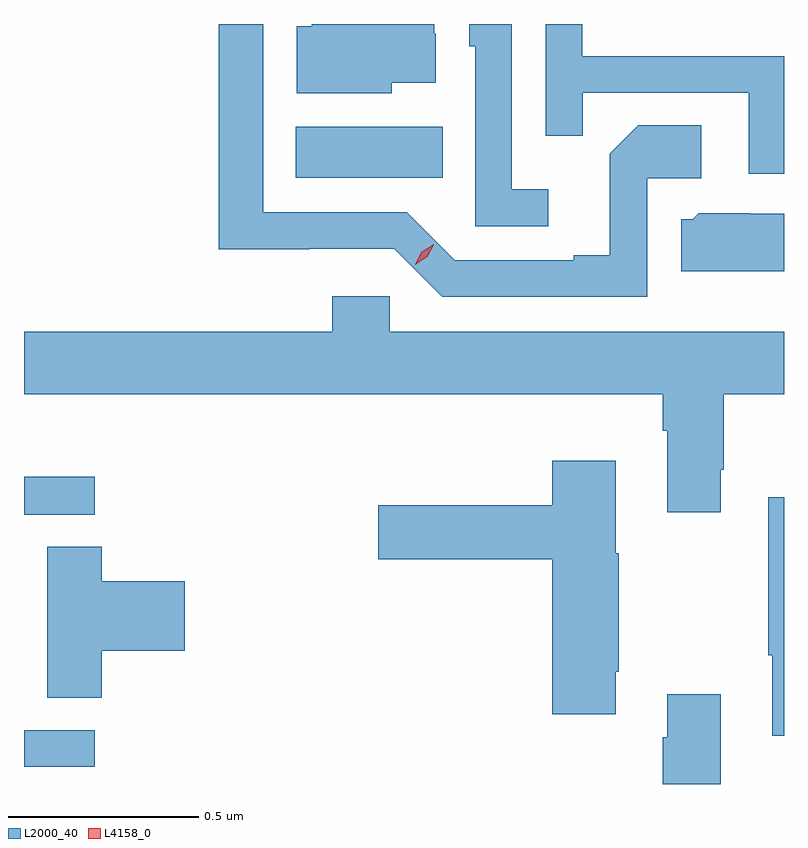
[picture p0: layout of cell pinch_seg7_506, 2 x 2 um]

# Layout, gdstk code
import gdstk
lib = gdstk.Library(unit=1e-6, precision=1e-09)
def R(c, l, rs):  # rectangles x0, y0, x1, y1
    for r in rs: c.add(gdstk.rectangle(r[:2], r[2:], *l))
def P(c, l, *ps):  # polygons
    for p in ps: c.add(gdstk.Polygon(p, *l))
L2000_40 = (2000, 40)
L4158_0 = (4158, 0)

pinch_seg7_506 = lib.new_cell('pinch_seg7_506')
R(pinch_seg7_506, L2000_40, [(231.226,1068.9,231.412,1068.996), (231.226,1069.563,231.412,1069.662), (231.941,1070.45,232.328,1070.584)])
P(pinch_seg7_506, L2000_40, [(232.194,1070.699),(232.309,1070.699),(232.309,1070.828),(232.305,1070.828),(232.305,1070.854),(231.983,1070.854),(231.983,1070.848),(231.944,1070.848),(231.944,1070.672),(232.194,1070.672)],
  [(233.226,1070.769),(232.695,1070.769),(232.695,1070.854),(232.599,1070.854),(232.599,1070.56),(232.697,1070.56),(232.697,1070.673),(233.133,1070.673),(233.133,1070.46),(233.226,1070.46)],
  [(232.606,1070.419),(232.509,1070.419),(232.509,1070.854),(232.398,1070.854),(232.398,1070.796),(232.413,1070.796),(232.413,1070.322),(232.606,1070.322)],
  [(232.866,1070.448),(233.008,1070.448),(233.008,1070.588),(232.843,1070.588),(232.767,1070.512),(232.767,1070.245),(232.673,1070.245),(232.673,1070.232),(232.359,1070.232),(232.233,1070.358),(231.856,1070.358),(231.856,1070.854),(231.738,1070.854),(231.738,1070.261),(231.978,1070.261),(231.978,1070.262),(232.2,1070.262),(232.326,1070.136),(232.866,1070.136)],
  [(233.226,1070.355),(233.136,1070.355),(233.136,1070.356),(233.002,1070.356),(232.986,1070.34),(232.955,1070.34),(232.955,1070.204),(233.226,1070.204)],
  [(233.059,1069.681),(233.067,1069.681),(233.067,1069.88),(233.226,1069.88),(233.226,1070.044),(232.188,1070.044),(232.188,1070.137),(232.037,1070.137),(232.037,1070.044),(231.226,1070.044),(231.226,1069.88),(232.907,1069.88),(232.907,1069.784),(232.919,1069.784),(232.919,1069.569),(233.059,1069.569)],
  [(232.783,1069.15),(232.791,1069.15),(232.791,1069.461),(232.783,1069.461),(232.783,1069.705),(232.616,1069.705),(232.616,1069.587),(232.158,1069.587),(232.158,1069.445),(232.616,1069.445),(232.616,1069.038),(232.783,1069.038)],
  [(233.226,1069.609),(233.184,1069.609),(233.184,1069.193),(233.195,1069.193),(233.195,1068.981),(233.226,1068.981)],
  [(231.431,1069.205),(231.649,1069.205),(231.649,1069.388),(231.431,1069.388),(231.431,1069.478),(231.287,1069.478),(231.287,1069.081),(231.431,1069.081)],
  [(233.059,1069.09),(232.919,1069.09),(232.919,1068.977),(232.907,1068.977),(232.907,1068.854),(233.059,1068.854)])
P(pinch_seg7_506, L4158_0, [(232.255,1070.221),(232.255,1070.222),(232.272,1070.254),(232.304,1070.274),(232.304,1070.274),(232.304,1070.273),(232.287,1070.241),(232.255,1070.221)])

lib.write_gds('pinch_seg7_506.gds')
